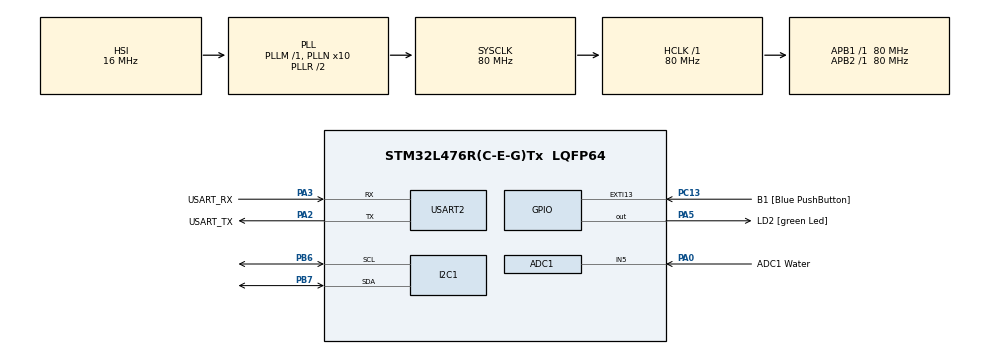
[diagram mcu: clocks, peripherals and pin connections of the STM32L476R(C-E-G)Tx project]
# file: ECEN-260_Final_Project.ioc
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ADC1.Channel-0\#ChannelRegularConversion=ADC_CHANNEL_5
ADC1.LowPowerAutoWait=ENABLE
ADC1.NbrOfConversion=1
ADC1.NbrOfConversionFlag=1
ADC1.OffsetNumber-0\#ChannelRegularConversion=ADC_OFFSET_NONE
ADC1.Rank-0\#ChannelRegularConversion=1
ADC1.SamplingTime-0\#ChannelRegularConversion=ADC_SAMPLETIME_640CYCLES_5
ADC1.master=1
I2C1.Timing=0x10D19CE4
Mcu.Family=STM32L4
Mcu.Name=STM32L476R(C-E-G)Tx
Mcu.Package=LQFP64
NVIC.PriorityGroup=NVIC_PRIORITYGROUP_4
PA0.GPIO_Label=ADC1 Water
PA0.Signal=ADCx_IN5
PA13\ (JTMS-SWDIO).GPIO_Label=TMS
PA13\ (JTMS-SWDIO).Mode=Serial_Wire
PA13\ (JTMS-SWDIO).Signal=SYS_JTMS-SWDIO
PA14\ (JTCK-SWCLK).GPIO_Label=TCK
PA14\ (JTCK-SWCLK).Mode=Serial_Wire
PA14\ (JTCK-SWCLK).Signal=SYS_JTCK-SWCLK
PA2.GPIO_Label=USART_TX
PA2.GPIO_Mode=GPIO_MODE_AF_PP
PA2.GPIO_PuPd=GPIO_NOPULL
PA2.GPIO_Speed=GPIO_SPEED_FREQ_VERY_HIGH
PA2.Mode=Asynchronous
PA2.Signal=USART2_TX
PA3.GPIO_Label=USART_RX
PA3.GPIO_Mode=GPIO_MODE_AF_PP
PA3.GPIO_PuPd=GPIO_NOPULL
PA3.GPIO_Speed=GPIO_SPEED_FREQ_VERY_HIGH
PA3.Mode=Asynchronous
PA3.Signal=USART2_RX
PA5.GPIO_Label=LD2 [green Led]
PA5.GPIO_ModeDefaultOutputPP=GPIO_MODE_OUTPUT_PP
PA5.GPIO_PuPd=GPIO_NOPULL
PA5.GPIO_Speed=GPIO_SPEED_FREQ_LOW
PA5.Signal=GPIO_Output
PB3\ (JTDO-TRACESWO).GPIO_Label=SWO
PB3\ (JTDO-TRACESWO).Signal=SYS_JTDO-SWO
PB6.Mode=I2C
PB6.Signal=I2C1_SCL
PB7.Mode=I2C
PB7.Signal=I2C1_SDA
PC13.GPIO_Label=B1 [Blue PushButton]
PC13.GPIO_ModeDefaultEXTI=GPIO_MODE_IT_FALLING
PC13.GPIO_PuPd=GPIO_NOPULL
PC13.Signal=GPXTI13
PC14-OSC32_IN\ (PC14).Mode=LSE-External-Oscillator
PC14-OSC32_IN\ (PC14).Signal=RCC_OSC32_IN
PC15-OSC32_OUT\ (PC15).Mode=LSE-External-Oscillator
PC15-OSC32_OUT\ (PC15).Signal=RCC_OSC32_OUT
PH0-OSC_IN\ (PH0).Signal=RCC_OSC_IN
PH1-OSC_OUT\ (PH1).Signal=RCC_OSC_OUT
ProjectManager.HeapSize=0x200
ProjectManager.StackSize=0x400
ProjectManager.TargetToolchain=CMake
RCC.ADCFreq_Value=64000000
RCC.AHBFreq_Value=80000000
RCC.APB1Freq_Value=80000000
RCC.APB1TimFreq_Value=80000000
RCC.APB2Freq_Value=80000000
RCC.APB2TimFreq_Value=80000000
RCC.CortexFreq_Value=80000000
RCC.HCLKFreq_Value=80000000
RCC.HSE_VALUE=8000000
RCC.HSI_VALUE=16000000
RCC.MSI_VALUE=4000000
RCC.PLLN=10
RCC.PLLSourceVirtual=RCC_PLLSOURCE_HSI
RCC.SYSCLKFreq_VALUE=80000000
RCC.SYSCLKSource=RCC_SYSCLKSOURCE_PLLCLK
RCC.USBFreq_Value=64000000
RCC.VCOOutputFreq_Value=160000000
SH.ADCx_IN5.0=ADC1_IN5,IN5-Single-Ended
TIM2.Period=0xFFFFFFFF
TIM2.Prescaler=80 - 1
USART2.VirtualMode-Asynchronous=VM_ASYNC
VP_TIM2_VS_ClockSourceINT.Mode=Internal
board=NUCLEO-L476RG

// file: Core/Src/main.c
/* USER CODE BEGIN Header */
/**
  ******************************************************************************
  * @file           : main.c
  * @brief          : Main program body
  ******************************************************************************
  * @attention
  *
  * Copyright (c) 2026 STMicroelectronics.
  * All rights reserved.
  *
  * This software is licensed under terms that can be found in the LICENSE file
  * in the root directory of this software component.
  * If no LICENSE file comes with this software, it is provided AS-IS.
  *
  ******************************************************************************

  * Copyright (c) 2026 STMicroelectronics.
  * All rights reserved.
  * * Portions Copyright (c) 2026 [Your Name]
  * Licensed under the MIT License.

  */
/* USER CODE END Header */
#include "main.h"
#include "adc.h"
#include "i2c.h"
#include "tim.h"
#include "usart.h"
#include "gpio.h"

/* USER CODE BEGIN PV */

// water sensor
uint32_t water_raw = 0;
float water_percent = 0;

// DHT11 Sensor
uint8_t dht_data[5];
uint8_t temp_val = 0;
uint8_t hum_val = 0;
/* USER CODE END PV */

void SystemClock_Config(void);

/* USER CODE BEGIN 0 */
void delay_us (uint16_t us)
{
    __HAL_TIM_SET_COUNTER(&htim2, 0);  // Reset the TIM2 counter to 0
    while (__HAL_TIM_GET_COUNTER(&htim2) < us);  // Wait until it reaches the requested 'us'
}
/* USER CODE END 0 */

int main(void)
{

  /* MCU Configuration--------------------------------------------------------*/

  /* Reset of all peripherals, Initializes the Flash interface and the Systick. */
  HAL_Init();

  /* Configure the system clock */
  SystemClock_Config();

  /* Initialize all configured peripherals */
  MX_GPIO_Init();
  MX_USART2_UART_Init();
  MX_ADC1_Init();
  MX_TIM2_Init();
  MX_I2C1_Init();
  /* USER CODE BEGIN 2 */
  // start TIM2
  HAL_TIM_Base_Start(&htim2);

  /* USER CODE END 2 */

  /* Infinite loop */
  /* USER CODE BEGIN WHILE */
  while (1)
  {

    // Start ADC

    HAL_ADC_Start(&hadc1);

    // check for the sensor
    if (HAL_ADC_PollForConversion(&hadc1, 10) == HAL_OK)
      {
        // get the value of the sensor
        water_raw = HAL_ADC_GetValue(&hadc1);

        // convert the value to percentage
        water_percent = ((float)water_raw / 4095.0F) * 100.0F;

      }
      HAL_ADC_Stop(&hadc1);

      HAL_GPIO_WritePin(GPIOA, GPIO_PIN_4, GPIO_PIN_RESET); // force pin to 0
      HAL_Delay(18); // sensor needs a start signal of at least 18ms

      HAL_GPIO_WritePin(GPIOA, GPIO_PIN_4, GPIO_PIN_SET); // let pin go high again
      delay_us(30); // give sensor time to take over wire

      GPIO_InitTypeDef GPIO_InitStruct = {0}; // temp struct for gpio config
      GPIO_InitStruct.Pin = GPIO_PIN_4; // set pin 4 as pin to read
      GPIO_InitStruct.Mode = GPIO_MODE_INPUT; // set pin to input mode
      GPIO_InitStruct.Pull = GPIO_NOPULL; // set PUPDR for pin 4
      HAL_GPIO_Init(GPIOA, &GPIO_InitStruct);

      delay_us(40); // some time to let sensor take control
      if (!(HAL_GPIO_ReadPin(GPIOA, GPIO_PIN_4))) // check if sensor is ready by low signal
      {
        while (!(HAL_GPIO_ReadPin(GPIOA, GPIO_PIN_4))); // wait for sensor pulse
        while ((HAL_GPIO_ReadPin(GPIOA, GPIO_PIN_4))); //

        for (int i = 0; i < 5; i++) // counts 5 bytes
        {
          for (int j = 0; j < 8; j++) // counts the 8 bits in each byte
          {
            while (!(HAL_GPIO_ReadPin(GPIOA, GPIO_PIN_4))); // checking for the 50us low pulse that happens at each bit
            delay_us(40); // wait for enough time to get the signal of a "1" or "0"

              if (!(HAL_GPIO_ReadPin(GPIOA, GPIO_PIN_4))) // if the pin is low, then it's a "0"
              {
                dht_data[i] &= ~(1 << (7-j)); // clear the bit at position (7-j) in dht_data[i]
              }

              else // if the pin is high, then it's a "1"
              {
                dht_data[i] |= (1 << (7-j)); // set the bit at position (7-j) in dht_data[i]
                while ((HAL_GPIO_ReadPin(GPIOA, GPIO_PIN_4))); // wait for the high pulse to end
              }
          }
        }
        uint8_t checksum = dht_data[0] + dht_data[1] + dht_data[2] + dht_data[3]; // calculate checksum

        if (checksum == dht_data[4]) // check if checksum is correct
        {
          temp_val = dht_data[2]; // get temperature value from data array
          hum_val = dht_data[0]; // get humidity value from data array
        }
      }

      HAL_Delay(2000); // wait 2 seconds before next reading

    /* USER CODE END WHILE */

  }
}

void SystemClock_Config(void)
{
  RCC_OscInitTypeDef RCC_OscInitStruct = {0};
  RCC_ClkInitTypeDef RCC_ClkInitStruct = {0};

  /** Configure the main internal regulator output voltage
  */
  if (HAL_PWREx_ControlVoltageScaling(PWR_REGULATOR_VOLTAGE_SCALE1) != HAL_OK)
  {
    Error_Handler();
  }

  /** Initializes the RCC Oscillators according to the specified parameters
  * in the RCC_OscInitTypeDef structure.
  */
  RCC_OscInitStruct.OscillatorType = RCC_OSCILLATORTYPE_HSI;
  RCC_OscInitStruct.HSIState = RCC_HSI_ON;
  RCC_OscInitStruct.HSICalibrationValue = RCC_HSICALIBRATION_DEFAULT;
  RCC_OscInitStruct.PLL.PLLState = RCC_PLL_ON;
  RCC_OscInitStruct.PLL.PLLSource = RCC_PLLSOURCE_HSI;
  RCC_OscInitStruct.PLL.PLLM = 1;
  RCC_OscInitStruct.PLL.PLLN = 10;
  RCC_OscInitStruct.PLL.PLLP = RCC_PLLP_DIV7;
  RCC_OscInitStruct.PLL.PLLQ = RCC_PLLQ_DIV2;
  RCC_OscInitStruct.PLL.PLLR = RCC_PLLR_DIV2;
  if (HAL_RCC_OscConfig(&RCC_OscInitStruct) != HAL_OK)
  {
    Error_Handler();
  }

  /** Initializes the CPU, AHB and APB buses clocks
  */
  RCC_ClkInitStruct.ClockType = RCC_CLOCKTYPE_HCLK|RCC_CLOCKTYPE_SYSCLK
                              |RCC_CLOCKTYPE_PCLK1|RCC_CLOCKTYPE_PCLK2;
  RCC_ClkInitStruct.SYSCLKSource = RCC_SYSCLKSOURCE_PLLCLK;
  RCC_ClkInitStruct.AHBCLKDivider = RCC_SYSCLK_DIV1;
  RCC_ClkInitStruct.APB1CLKDivider = RCC_HCLK_DIV1;
  RCC_ClkInitStruct.APB2CLKDivider = RCC_HCLK_DIV1;

  if (HAL_RCC_ClockConfig(&RCC_ClkInitStruct, FLASH_LATENCY_4) != HAL_OK)
  {
    Error_Handler();
  }
}

void Error_Handler(void)
{
  __disable_irq();
  while (1)
  {
  }
}
